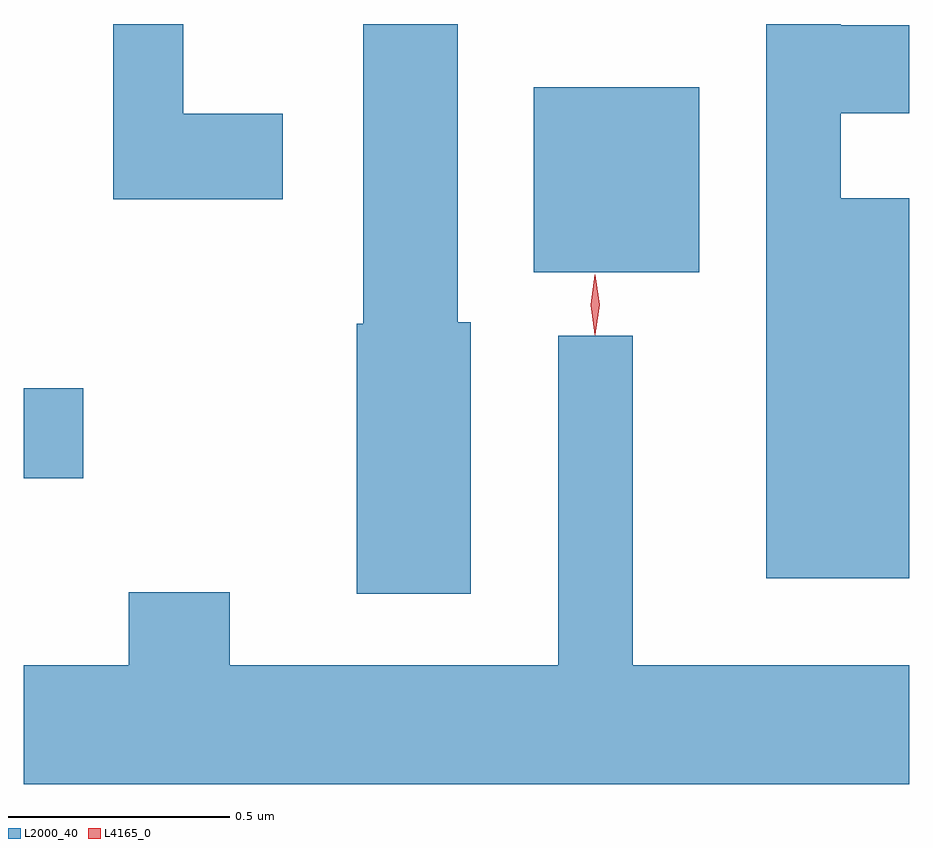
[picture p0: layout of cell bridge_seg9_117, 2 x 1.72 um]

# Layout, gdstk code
import gdstk
lib = gdstk.Library(unit=1e-6, precision=1e-09)
def R(c, l, rs):  # rectangles x0, y0, x1, y1
    for r in rs: c.add(gdstk.rectangle(r[:2], r[2:], *l))
def P(c, l, *ps):  # polygons
    for p in ps: c.add(gdstk.Polygon(p, *l))
L2000_40 = (2000, 40)
L4165_0 = (4165, 0)

bridge_seg9_117 = lib.new_cell('bridge_seg9_117')
R(bridge_seg9_117, L2000_40, [(1749.644,1968.086,1749.779,1968.289), (1750.796,1968.551,1751.169,1968.969)])
P(bridge_seg9_117, L2000_40, [(1751.644,1968.719),(1751.489,1968.719),(1751.489,1968.911),(1751.644,1968.911),(1751.644,1969.109),(1751.489,1969.109),(1751.489,1969.112),(1751.321,1969.112),(1751.321,1967.861),(1751.644,1967.861)],
  [(1750.654,1968.439),(1750.624,1968.439),(1750.624,1969.112),(1750.411,1969.112),(1750.411,1968.435),(1750.396,1968.435),(1750.396,1967.826),(1750.654,1967.826)],
  [(1750.229,1968.909),(1750.004,1968.909),(1750.004,1969.112),(1749.846,1969.112),(1749.846,1968.716),(1750.229,1968.716)],
  [(1751.644,1967.664),(1751.019,1967.664),(1751.019,1968.408),(1750.851,1968.408),(1750.851,1967.664),(1750.109,1967.664),(1750.109,1967.829),(1749.881,1967.829),(1749.881,1967.664),(1749.644,1967.664),(1749.644,1967.396),(1751.644,1967.396)])
P(bridge_seg9_117, L4165_0, [(1750.935,1968.409),(1750.934,1968.41),(1750.925,1968.478),(1750.934,1968.546),(1750.935,1968.546),(1750.935,1968.546),(1750.945,1968.478),(1750.935,1968.41)],
  [(1750.934,1968.413),(1750.924,1968.477),(1750.934,1968.541),(1750.934,1968.542),(1750.935,1968.541),(1750.944,1968.477),(1750.935,1968.413),(1750.935,1968.413)])

lib.write_gds('bridge_seg9_117.gds')
